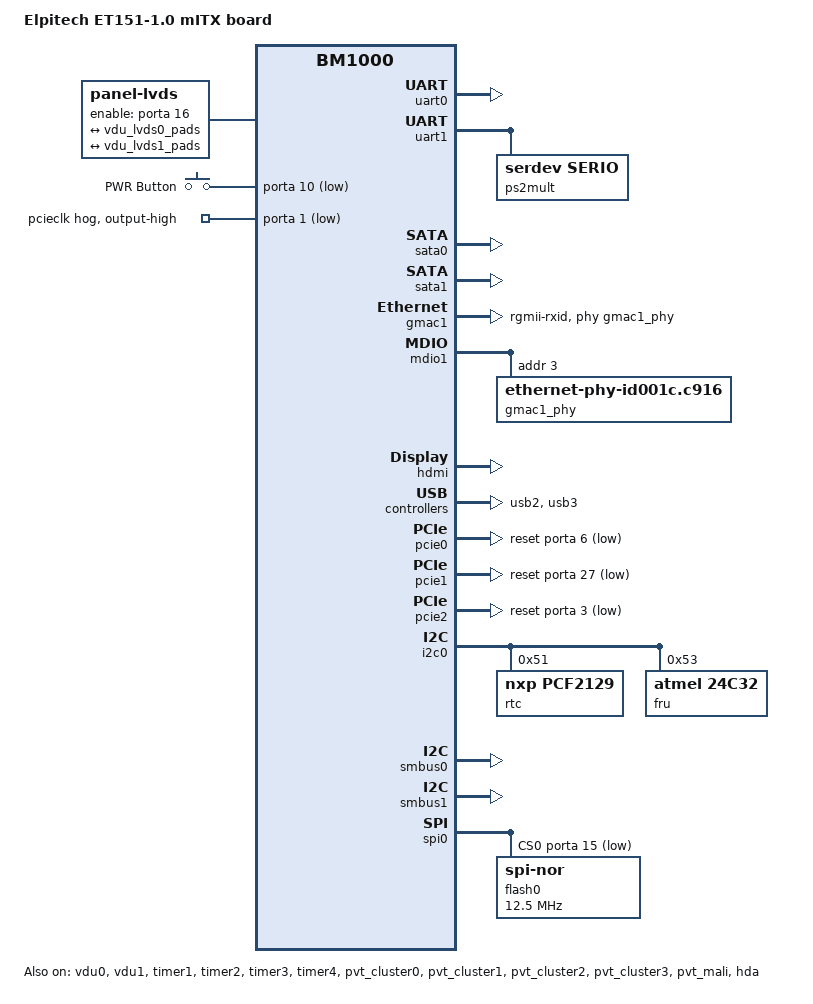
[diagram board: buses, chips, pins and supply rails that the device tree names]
// SPDX-License-Identifier: GPL-2.0
/*
 * Baikal-M ET151 device tree
 */

/dts-v1/;

#include "bm1000.dtsi"
#include <dt-bindings/net/realtek-phy-rtl8211f.h>
#include <dt-bindings/input/gpio-keys.h>
#include <dt-bindings/input/linux-event-codes.h>

/ {

	compatible = "baikal,baikal-m";
	#address-cells = <2>;
	#size-cells = <2>;

	model = "Elpitech ET151-1.0 mITX board";

	aliases {
		ethernet0 = &gmac1;
		fru = &fru;
	};

	chosen { };

	panel {
		compatible = "panel-lvds";
		width-mm = <223>;
		height-mm = <125>;
		data-mapping = "vesa-24";
		enable-gpios = <&porta 16 GPIO_ACTIVE_HIGH>;
		panel-timing {
		// 1920x1080 @60Hz
			clock-frequency = <148500000>;
			hactive = <1920>;
			vactive = <1080>;
			hsync-len = <44>;
			hfront-porch = <88>;
			hback-porch = <148>;
			vsync-len = <5>;
			vfront-porch = <4>;
			vback-porch = <36>;
		};
		port {
			#address-cells = <1>;
			#size-cells = <0>;
			panel0_lvds0: endpoint@0 {
				reg = <0>;
				remote-endpoint = <&vdu_lvds0_pads>;
			};
			panel0_lvds1: endpoint@1 {
				reg = <1>;
				remote-endpoint = <&vdu_lvds1_pads>;
			};
		};
	};

	gpio-keys {
		compatible = "gpio-keys";
		pwr {
			label = "PWR Button";
			linux,code = <116>;
			gpios = <&porta 10 GPIO_ACTIVE_LOW>;
			wakeup-source;
			wakeup-event-action = <EV_ACT_DEASSERTED>;
		};
	};
};

&vdu0 {
	status = "okay";
	num-lanes = <2>;
	port {
		#address-cells = <1>;
		#size-cells = <0>;
		vdu_lvds0_pads: endpoint@0 {
			reg = <0>;
			remote-endpoint = <&panel0_lvds0>;
		};
		vdu_lvds1_pads: endpoint@1 {
			reg = <1>;
			remote-endpoint = <&panel0_lvds1>;
		};
	};
};

&uart0 {
	status = "okay";
};

&uart1 {
	status = "okay";

	ps2mult {
		compatible = "serdev,serio";
		current-speed = <115200>;
		protocol = <0x3c>; /* SERIO_PS2MULT */
	};
};

&sata0 {
	status = "okay";
};

&sata1 {
	status = "okay";
};

&gmac1 {
	status = "okay";
	snps,reset-gpios = <&porta 20 GPIO_ACTIVE_LOW>;
	snps,reset-delays-us = <10>, <10000>, <50000>;
	clk_csr = <0x3>;
	phy-mode = "rgmii-rxid";
	phy-handle = <&gmac1_phy>;
};

&mdio1 {
	gmac1_phy: ethernet-phy@3 {
		compatible = "ethernet-phy-id001c.c916", "ethernet-phy-ieee802.3-c22";
		reg = <0x3>;
		realtek,led-mode = <RTL8211F_LED_MODE_B>;
		realtek,led0-control = <RTL8211F_LINK10_100_1000>;
		realtek,led1-control = <RTL8211F_LINK10_ACT>;
	};
};

&hdmi {
	status = "okay";
};

&vdu1 {
	status = "okay";
};

&gpio32 {
	status = "okay";
};

&usb2 {
	status = "okay";
};

&usb3 {
	status = "okay";
};

&pcie0 {
	status = "okay";
	reset-gpios = <&porta 6 GPIO_ACTIVE_LOW>;
};

&pcie1 {
	status = "okay";
	reset-gpios = <&porta 27 GPIO_ACTIVE_LOW>;
};

&pcie2 {
	status = "okay";
	reset-gpios = <&porta 3 GPIO_ACTIVE_LOW>;
};

&timer1 {
	status = "okay";
};

&timer2 {
	status = "okay";
};

&timer3 {
	status = "okay";
};

&timer4 {
	status = "okay";
};

&pvt_cluster0 {
	status = "okay";
};

&pvt_cluster1 {
	status = "okay";
};

&pvt_cluster2 {
	status = "okay";
};

&pvt_cluster3 {
	status = "okay";
};

&pvt_mali {
	status = "okay";
};

&i2c0 {
	status = "okay";

	rtc@51 {
		compatible = "nxp,pcf2129", "nxp,pcf2127";
		reg = <0x51>;
	};

	fru: eeprom@53 {
		compatible = "atmel,24c32";
		pagesize = <32>;
		reg = <0x53>;
	};
};

&smbus0 {
	status = "okay";
};

&smbus1 {
	status = "okay";
};

&spi0 {
	num-cs = <4>;

	cs-gpios = <&porta 15 GPIO_ACTIVE_LOW>, <0>;
	status = "okay";
	flash0: flash@0 {
		compatible = "jedec,spi-nor";
		reg = <0>;
		#address-cells = <1>;
		#size-cells = <1>;
		spi-max-frequency = <12500000>;
		status = "okay";

		/* Flash chip0 partitions */
		mtd0@0 {
			label = "bl1";
			reg = <0x00000000 0x00040000>;
			read-only;
		};

		mtd1@40000 {
			label = "fip";
			reg = <0x00040000 0x007c0000>;
		};

		mtd2@800000 {
			label = "rescue";
			reg = <0x00800000 0x01800000>;
		};
	};
};

&porta {
	pcieclk {
		line_name = "pcie-x8-clock";
		gpio-hog;
		gpios = <1 GPIO_ACTIVE_LOW>;
		output-high;
	};
};

&hda {
	status = "okay";
	patch-data = "[codec]\n\
0x111d76d5 0x00000100 0\n\
[model]\n\
et151\n\
[pincfg]\n\
0x0a 0x0221401f\n\
0x0b 0x012b1010\n\
0x0c 0x01ab1020\n\
0x0e 0x02a19021\n\
0x0f 0x70819040\n\
0x11 0x70a3014e\n\
0x1f 0x70451160\n\
[verb]\n\
0x0b 0x707 0xc0\n\
0x0b 0x701 0x01\n\
0x0e 0x707 0x20\n\
0x11 0x707 0x00\n\
0x1f 0x707 0x00\n\
0x17 0x701 0x03\n\
0x1b 0x360 0x17\n\
0x1b 0x350 0x17\n\
0x1b 0x361 0x17\n\
0x1b 0x351 0x17\n";
};
